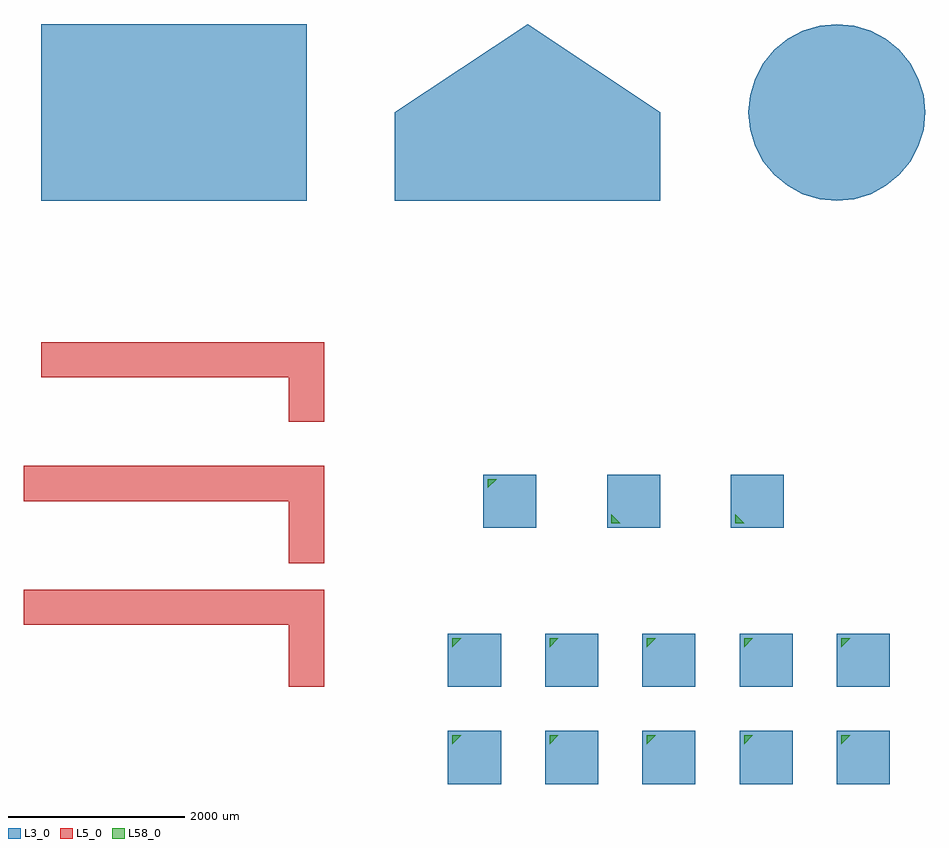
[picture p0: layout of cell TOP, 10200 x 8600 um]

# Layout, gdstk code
from math import pi, radians
import gdstk
lib = gdstk.Library(unit=1e-6, precision=1e-09)
def R(c, l, rs):  # rectangles x0, y0, x1, y1
    for r in rs: c.add(gdstk.rectangle(r[:2], r[2:], *l))
def P(c, l, *ps):  # polygons
    for p in ps: c.add(gdstk.Polygon(p, *l))
L3_0 = (3, 0)
L5_0 = (5, 0)
L58_0 = (58, 0)

pad = lib.new_cell('PAD')
R(pad, L3_0, [(-300,-300,300,300)])
P(pad, L58_0, [(-250,150),(-250,250),(-150,250)])

top = lib.new_cell('TOP')
R(top, L3_0, [(0,6000,3000,8000)])
P(top, L3_0, [(4000,6000),(7000,6000),(7000,7000),(5500,8000),(4000,7000)],
  [(10000,7000),(9981,7195),(9924,7383),(9831,7556),(9707,7707),(9556,7831),(9383,7924),(9195,7981),(9000,8000),(8805,7981),(8617,7924),(8444,7831),(8293,7707),(8169,7556),(8076,7383),(8019,7195),(8000,7000),(8019,6805),(8076,6617),(8169,6444),(8293,6293),(8444,6169),(8617,6076),(8805,6019),(9000,6000),(9195,6019),(9383,6076),(9556,6169),(9707,6293),(9831,6444),(9924,6617),(9981,6805)])
top.add(gdstk.FlexPath([(0,4200),(3000,4200),(3000,3500)], 400, ends="flush", simple_path=True, layer=5, datatype=0))  # L5_0
top.add(gdstk.FlexPath([(0,2800),(3000,2800),(3000,2100)], 400, ends="extended", simple_path=True, layer=5, datatype=0))  # L5_0
top.add(gdstk.FlexPath([(0,1400),(3000,1400),(3000,700)], 400, ends="round", simple_path=True, layer=5, datatype=0))  # L5_0
top.add(gdstk.Reference(pad, (5300,2600)))
top.add(gdstk.Reference(pad, (6700,2600), rotation=pi/2))
top.add(gdstk.Reference(pad, (8100,2600), x_reflection=True))
r = gdstk.Reference(pad, (4900,-300)); r.repetition = gdstk.Repetition(5, 2, v1=(1100,0), v2=(0,1100)); top.add(r)

lib.write_gds('TOP.gds')
